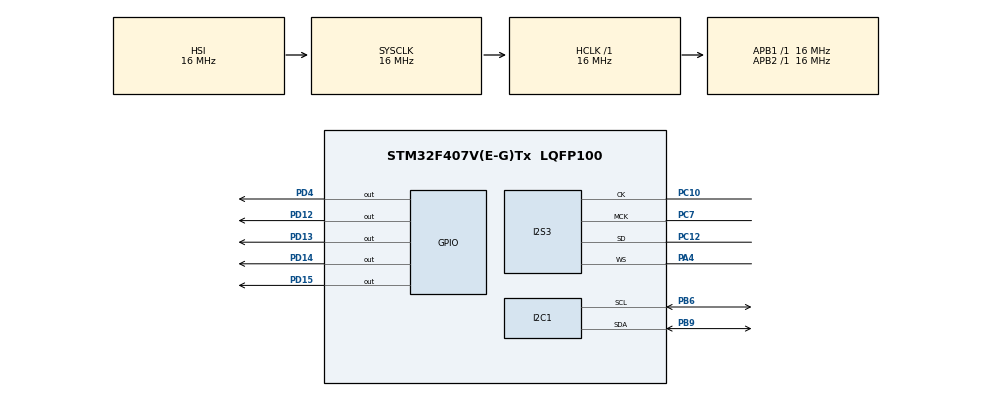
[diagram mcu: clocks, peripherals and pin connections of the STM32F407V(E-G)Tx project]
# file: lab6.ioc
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Dma.Request0=SPI3_TX
Dma.SPI3_TX.0.Direction=DMA_MEMORY_TO_PERIPH
Dma.SPI3_TX.0.FIFOMode=DMA_FIFOMODE_ENABLE
Dma.SPI3_TX.0.FIFOThreshold=DMA_FIFO_THRESHOLD_FULL
Dma.SPI3_TX.0.Instance=DMA1_Stream5
Dma.SPI3_TX.0.MemBurst=DMA_MBURST_SINGLE
Dma.SPI3_TX.0.MemDataAlignment=DMA_MDATAALIGN_HALFWORD
Dma.SPI3_TX.0.MemInc=DMA_MINC_ENABLE
Dma.SPI3_TX.0.Mode=DMA_CIRCULAR
Dma.SPI3_TX.0.PeriphBurst=DMA_PBURST_SINGLE
Dma.SPI3_TX.0.PeriphDataAlignment=DMA_PDATAALIGN_HALFWORD
Dma.SPI3_TX.0.PeriphInc=DMA_PINC_DISABLE
Dma.SPI3_TX.0.Priority=DMA_PRIORITY_LOW
I2S3.AudioFreq=I2S_AUDIOFREQ_48K
I2S3.ErrorAudioFreq=-2.34 %
I2S3.FullDuplexMode=I2S_FULLDUPLEXMODE_DISABLE
I2S3.Instance=SPI$Index
I2S3.RealAudioFreq=46.875 KHz
I2S3.VirtualMode=I2S_MODE_MASTER
Mcu.Family=STM32F4
Mcu.Name=STM32F407V(E-G)Tx
Mcu.Package=LQFP100
NVIC.DMA1_Stream5_IRQn=true\:0\:0\:false\:false\:true\:false\:true\:true
NVIC.PriorityGroup=NVIC_PRIORITYGROUP_4
PA4.Mode=Half_Duplex_Master
PA4.Signal=I2S3_WS
PB6.Mode=I2C
PB6.Signal=I2C1_SCL
PB9.Mode=I2C
PB9.Signal=I2C1_SDA
PC10.Mode=Half_Duplex_Master
PC10.Signal=I2S3_CK
PC12.Mode=Half_Duplex_Master
PC12.Signal=I2S3_SD
PC7.Mode=Master_Clock_Activated
PC7.Signal=I2S3_MCK
PD12.Signal=GPIO_Output
PD13.Signal=GPIO_Output
PD14.Signal=GPIO_Output
PD15.Signal=GPIO_Output
PD4.Signal=GPIO_Output
ProjectManager.HeapSize=0x200
ProjectManager.StackSize=0x400
ProjectManager.TargetToolchain=STM32CubeIDE
RCC.AHBFreq_Value=16000000
RCC.APB1Freq_Value=16000000
RCC.APB2Freq_Value=16000000
RCC.CortexFreq_Value=16000000
RCC.HSE_VALUE=25000000
RCC.HSI_VALUE=16000000
RCC.LSE_VALUE=32768
RCC.SYSCLKFreq_VALUE=16000000
RCC.VCOOutputFreq_Value=192000000
board=custom

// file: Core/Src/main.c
/* USER CODE BEGIN Header */
/**
  ******************************************************************************
  * @file           : main.c
  * @brief          : Main program body
  ******************************************************************************
  * @attention
  *
  * Copyright (c) 2024 STMicroelectronics.
  * All rights reserved.
  *
  * This software is licensed under terms that can be found in the LICENSE file
  * in the root directory of this software component.
  * If no LICENSE file comes with this software, it is provided AS-IS.
  *
  ******************************************************************************
  */
/* USER CODE END Header */
#include "main.h"

/* USER CODE BEGIN PTD */

typedef enum
{
	C4,
	C5,
	D5,
	E5,
	F5,
	G5,
	A5,
	B5,
	C6,
	D6,
	E6,
	F6,
	G6,
	A6,
	B6,
	C7,
	MAX_VALUE
} soundToneType;

/* USER CODE END PTD */

/* USER CODE BEGIN PD */

#define CS43L22_I2C_ADDRESS		0x94
#define I2C_TIMEOUT				10

/* USER CODE END PD */

I2C_HandleTypeDef hi2c1;

I2S_HandleTypeDef hi2s3;
DMA_HandleTypeDef hdma_spi3_tx;

/* USER CODE BEGIN PV */

int16_t dataI2S[100] = {0};

int i = 0;

/* USER CODE END PV */

void SystemClock_Config(void);
static void MX_GPIO_Init(void);
static void MX_DMA_Init(void);
static void MX_I2C1_Init(void);
static void MX_I2S3_Init(void);

/* USER CODE BEGIN 0 */

void CS43L22_Init(void)
{
	// Enable chip
	HAL_GPIO_WritePin(GPIOD, GPIO_PIN_4, GPIO_PIN_SET);

	//
	// Initialization
	//
	uint8_t TxBuffer[2];

	TxBuffer[0] = 0x0D;
	TxBuffer[1] = 0x01;
	HAL_I2C_Master_Transmit(&hi2c1, CS43L22_I2C_ADDRESS, (uint8_t*) &TxBuffer, 2, I2C_TIMEOUT);

	TxBuffer[0] = 0x00;
	TxBuffer[1] = 0x99;
	HAL_I2C_Master_Transmit(&hi2c1, CS43L22_I2C_ADDRESS, (uint8_t*) &TxBuffer, 2, I2C_TIMEOUT);

	TxBuffer[0] = 0x47;
	TxBuffer[1] = 0x80;
	HAL_I2C_Master_Transmit(&hi2c1, CS43L22_I2C_ADDRESS, (uint8_t*) &TxBuffer, 2, I2C_TIMEOUT);

	TxBuffer[0] = 0x32;
	TxBuffer[1] = 0xFF;
	HAL_I2C_Master_Transmit(&hi2c1, CS43L22_I2C_ADDRESS, (uint8_t*) &TxBuffer, 2, I2C_TIMEOUT);

	TxBuffer[0] = 0x32;
	TxBuffer[1] = 0x7F;
	HAL_I2C_Master_Transmit(&hi2c1, CS43L22_I2C_ADDRESS, (uint8_t*) &TxBuffer, 2, I2C_TIMEOUT);

	TxBuffer[0] = 0x00;
	TxBuffer[1] = 0x00;
	HAL_I2C_Master_Transmit(&hi2c1, CS43L22_I2C_ADDRESS, (uint8_t*) &TxBuffer, 2, I2C_TIMEOUT);

	TxBuffer[0] = 0x04;
	TxBuffer[1] = 0xAF;
	HAL_I2C_Master_Transmit(&hi2c1, CS43L22_I2C_ADDRESS, (uint8_t*) &TxBuffer, 2, I2C_TIMEOUT);

	TxBuffer[0] = 0x0D;
	TxBuffer[1] = 0x70;
	HAL_I2C_Master_Transmit(&hi2c1, CS43L22_I2C_ADDRESS, (uint8_t*) &TxBuffer, 2, I2C_TIMEOUT);

	TxBuffer[0] = 0x05;
	TxBuffer[1] = 0x81;
	HAL_I2C_Master_Transmit(&hi2c1, CS43L22_I2C_ADDRESS, (uint8_t*) &TxBuffer, 2, I2C_TIMEOUT);

	TxBuffer[0] = 0x06;
	TxBuffer[1] = 0x07;
	HAL_I2C_Master_Transmit(&hi2c1, CS43L22_I2C_ADDRESS, (uint8_t*) &TxBuffer, 2, I2C_TIMEOUT);

	TxBuffer[0] = 0x0A;
	TxBuffer[1] = 0x00;
	HAL_I2C_Master_Transmit(&hi2c1, CS43L22_I2C_ADDRESS, (uint8_t*) &TxBuffer, 2, I2C_TIMEOUT);

	TxBuffer[0] = 0x27;
	TxBuffer[1] = 0x00;
	HAL_I2C_Master_Transmit(&hi2c1, CS43L22_I2C_ADDRESS, (uint8_t*) &TxBuffer, 2, I2C_TIMEOUT);

	TxBuffer[0] = 0x1A;
	TxBuffer[1] = 0x0A;
	HAL_I2C_Master_Transmit(&hi2c1, CS43L22_I2C_ADDRESS, (uint8_t*) &TxBuffer, 2, I2C_TIMEOUT);

	TxBuffer[0] = 0x1B;
	TxBuffer[1] = 0x0A;
	HAL_I2C_Master_Transmit(&hi2c1, CS43L22_I2C_ADDRESS, (uint8_t*) &TxBuffer, 2, I2C_TIMEOUT);

	TxBuffer[0] = 0x1F;
	TxBuffer[1] = 0x0F;
	HAL_I2C_Master_Transmit(&hi2c1, CS43L22_I2C_ADDRESS, (uint8_t*) &TxBuffer, 2, I2C_TIMEOUT);

	TxBuffer[0] = 0x02;
	TxBuffer[1] = 0x9E;
	HAL_I2C_Master_Transmit(&hi2c1, CS43L22_I2C_ADDRESS, (uint8_t*) &TxBuffer, 2, I2C_TIMEOUT);
}

void CS43L22_Beep(soundToneType pitch, uint32_t duration_ms)
{
	uint8_t TxBuffer[2];

	// Set volume and off time
	TxBuffer[0] = 0x1D;		// Register address
	TxBuffer[1] = 0x00;		// Value (volume and off time)
	HAL_I2C_Master_Transmit(&hi2c1, CS43L22_I2C_ADDRESS, (uint8_t*) &TxBuffer, 2, I2C_TIMEOUT);

	// Set sound frequency
	TxBuffer[0] = 0x1C;		// Register address
	switch (pitch)
	{
	case C4:
		TxBuffer[1] = 0x00;		// Value (frequency and on time)
		break;
	case C5:
		TxBuffer[1] = 0x01;		// Value (frequency and on time)
		break;
	case D5:
		TxBuffer[1] = 0x02;		// Value (frequency and on time)
		break;
	case E5:
		TxBuffer[1] = 0x03;		// Value (frequency and on time)
		break;
	case F5:
		TxBuffer[1] = 0x04;		// Value (frequency and on time)
		break;
	case G5:
		TxBuffer[1] = 0x05;		// Value (frequency and on time)
		break;
	case A5:
		TxBuffer[1] = 0x06;		// Value (frequency and on time)
		break;
	case B5:
		TxBuffer[1] = 0x07;		// Value (frequency and on time)
		break;
	case C6:
		TxBuffer[1] = 0x08;		// Value (frequency and on time)
		break;
	case D6:
		TxBuffer[1] = 0x09;		// Value (frequency and on time)
		break;
	case E6:
		TxBuffer[1] = 0x0A;		// Value (frequency and on time)
		break;
	case F6:
		TxBuffer[1] = 0x0B;		// Value (frequency and on time)
		break;
	case G6:
		TxBuffer[1] = 0x0C;		// Value (frequency and on time)
		break;
	case A6:
		TxBuffer[1] = 0x0D;		// Value (frequency and on time)
		break;
	case B6:
		TxBuffer[1] = 0x0E;		// Value (frequency and on time)
		break;
	case C7:
		TxBuffer[1] = 0x0F;		// Value (frequency and on time)
		break;
		// Assume C4 for all other cases
		case MAX_VALUE:
		default:
			TxBuffer[1] = 0x00;		// Value (frequency and on time)
			break;
	}
	HAL_I2C_Master_Transmit(&hi2c1, CS43L22_I2C_ADDRESS, (uint8_t*) &TxBuffer, 2, I2C_TIMEOUT);

	// Enable continuous mode (SOUND STARTED)
	TxBuffer[0] = 0x1E;		// Register address
	TxBuffer[1] = 0xC0;		// Value (beep and tone configuration)
	HAL_I2C_Master_Transmit(&hi2c1, CS43L22_I2C_ADDRESS, (uint8_t*) &TxBuffer, 2, I2C_TIMEOUT);

	// Playing...
	HAL_Delay(duration_ms);

	// Disable continuous mode (SOUND STOPED)
	TxBuffer[0] = 0x1E;		// Register address
	TxBuffer[1] = 0x00;		// Value (beep and tone configuration)
	HAL_I2C_Master_Transmit(&hi2c1, CS43L22_I2C_ADDRESS, (uint8_t*) &TxBuffer, 2, I2C_TIMEOUT);
}

void melody()
{
	CS43L22_Beep(C5, 300);
    HAL_GPIO_WritePin(GPIOD, GPIO_PIN_12, GPIO_PIN_SET);
    HAL_Delay(300);
    HAL_GPIO_WritePin(GPIOD, GPIO_PIN_12, GPIO_PIN_RESET);
    CS43L22_Beep(C5, 300);
    HAL_GPIO_WritePin(GPIOD, GPIO_PIN_12, GPIO_PIN_SET);
    HAL_Delay(300);
    HAL_GPIO_WritePin(GPIOD, GPIO_PIN_12, GPIO_PIN_RESET);
    CS43L22_Beep(D5, 300);
    HAL_GPIO_WritePin(GPIOD, GPIO_PIN_13, GPIO_PIN_SET);
    HAL_Delay(300);
    HAL_GPIO_WritePin(GPIOD, GPIO_PIN_13, GPIO_PIN_RESET);
    CS43L22_Beep(C5, 400);
    HAL_GPIO_WritePin(GPIOD, GPIO_PIN_12, GPIO_PIN_SET);
    HAL_Delay(400);
    HAL_GPIO_WritePin(GPIOD, GPIO_PIN_12, GPIO_PIN_RESET);

    CS43L22_Beep(F5, 300);
    HAL_GPIO_WritePin(GPIOD, GPIO_PIN_15, GPIO_PIN_SET);
    HAL_Delay(300);
    HAL_GPIO_WritePin(GPIOD, GPIO_PIN_15, GPIO_PIN_RESET);
    CS43L22_Beep(E5, 300);
    HAL_GPIO_WritePin(GPIOD, GPIO_PIN_14, GPIO_PIN_SET);
    HAL_Delay(300);
    HAL_GPIO_WritePin(GPIOD, GPIO_PIN_14, GPIO_PIN_RESET);
    CS43L22_Beep(C5, 600);
    HAL_GPIO_WritePin(GPIOD, GPIO_PIN_12, GPIO_PIN_SET);
    HAL_Delay(600);
    HAL_GPIO_WritePin(GPIOD, GPIO_PIN_12, GPIO_PIN_RESET);

    CS43L22_Beep(F5, 300);
    HAL_GPIO_WritePin(GPIOD, GPIO_PIN_15, GPIO_PIN_SET);
    HAL_Delay(300);
    HAL_GPIO_WritePin(GPIOD, GPIO_PIN_15, GPIO_PIN_RESET);
    CS43L22_Beep(E5, 300);
    HAL_GPIO_WritePin(GPIOD, GPIO_PIN_14, GPIO_PIN_SET);
    HAL_Delay(300);
    HAL_GPIO_WritePin(GPIOD, GPIO_PIN_14, GPIO_PIN_RESET);
    CS43L22_Beep(C5, 600);
    HAL_GPIO_WritePin(GPIOD, GPIO_PIN_12, GPIO_PIN_SET);
    HAL_Delay(600);
    HAL_GPIO_WritePin(GPIOD, GPIO_PIN_12, GPIO_PIN_RESET);

    CS43L22_Beep(G5, 300);
    HAL_GPIO_WritePin(GPIOD, GPIO_PIN_13, GPIO_PIN_SET);
    HAL_GPIO_WritePin(GPIOD, GPIO_PIN_15, GPIO_PIN_SET);
    HAL_Delay(300);
    HAL_GPIO_WritePin(GPIOD, GPIO_PIN_13, GPIO_PIN_RESET);
    HAL_GPIO_WritePin(GPIOD, GPIO_PIN_15, GPIO_PIN_RESET);
    CS43L22_Beep(F5, 300);
    HAL_GPIO_WritePin(GPIOD, GPIO_PIN_15, GPIO_PIN_SET);
    HAL_Delay(300);
    HAL_GPIO_WritePin(GPIOD, GPIO_PIN_15, GPIO_PIN_RESET);
    CS43L22_Beep(D5, 600);
    HAL_GPIO_WritePin(GPIOD, GPIO_PIN_13, GPIO_PIN_SET);
    HAL_Delay(600);
    HAL_GPIO_WritePin(GPIOD, GPIO_PIN_13, GPIO_PIN_RESET);

    CS43L22_Beep(G5, 300);
    HAL_GPIO_WritePin(GPIOD, GPIO_PIN_13, GPIO_PIN_SET);
    HAL_GPIO_WritePin(GPIOD, GPIO_PIN_15, GPIO_PIN_SET);
    HAL_Delay(300);
    HAL_GPIO_WritePin(GPIOD, GPIO_PIN_13, GPIO_PIN_RESET);
    HAL_GPIO_WritePin(GPIOD, GPIO_PIN_15, GPIO_PIN_RESET);
    CS43L22_Beep(F5, 300);
    HAL_GPIO_WritePin(GPIOD, GPIO_PIN_15, GPIO_PIN_SET);
    HAL_Delay(300);
    HAL_GPIO_WritePin(GPIOD, GPIO_PIN_15, GPIO_PIN_RESET);
    CS43L22_Beep(C5, 600);
    HAL_GPIO_WritePin(GPIOD, GPIO_PIN_12, GPIO_PIN_SET);
    HAL_GPIO_WritePin(GPIOD, GPIO_PIN_13, GPIO_PIN_SET);
    HAL_GPIO_WritePin(GPIOD, GPIO_PIN_14, GPIO_PIN_SET);
    HAL_GPIO_WritePin(GPIOD, GPIO_PIN_15, GPIO_PIN_SET);
    HAL_Delay(600);
    HAL_GPIO_WritePin(GPIOD, GPIO_PIN_12, GPIO_PIN_RESET);
    HAL_GPIO_WritePin(GPIOD, GPIO_PIN_13, GPIO_PIN_RESET);
    HAL_GPIO_WritePin(GPIOD, GPIO_PIN_14, GPIO_PIN_RESET);
    HAL_GPIO_WritePin(GPIOD, GPIO_PIN_15, GPIO_PIN_RESET);

}

/* USER CODE END 0 */

int main(void)
{

  /* MCU Configuration--------------------------------------------------------*/

  /* Reset of all peripherals, Initializes the Flash interface and the Systick. */
  HAL_Init();

  /* Configure the system clock */
  SystemClock_Config();

  /* Initialize all configured peripherals */
  MX_GPIO_Init();
  MX_DMA_Init();
  MX_I2C1_Init();
  MX_I2S3_Init();
  /* USER CODE BEGIN 2 */

  // Init DAC
  CS43L22_Init();

  // Transmit empty data
  HAL_I2S_Transmit_DMA(&hi2s3, (uint16_t *)dataI2S, 100);

  /* USER CODE END 2 */

  /* Infinite loop */
  /* USER CODE BEGIN WHILE */
  while (1)
  {
	    while (i < 3) {
	        melody();
	        i++;
	    }
    /* USER CODE END WHILE */

  }
}

void SystemClock_Config(void)
{
  RCC_OscInitTypeDef RCC_OscInitStruct = {0};
  RCC_ClkInitTypeDef RCC_ClkInitStruct = {0};

  /** Macro to configure the PLL multiplication factor
  */
  __HAL_RCC_PLL_PLLM_CONFIG(16);

  /** Macro to configure the PLL clock source
  */
  __HAL_RCC_PLL_PLLSOURCE_CONFIG(RCC_PLLSOURCE_HSI);

  /** Configure the main internal regulator output voltage
  */
  __HAL_RCC_PWR_CLK_ENABLE();
  __HAL_PWR_VOLTAGESCALING_CONFIG(PWR_REGULATOR_VOLTAGE_SCALE1);

  /** Initializes the RCC Oscillators according to the specified parameters
  * in the RCC_OscInitTypeDef structure.
  */
  RCC_OscInitStruct.OscillatorType = RCC_OSCILLATORTYPE_HSI;
  RCC_OscInitStruct.HSIState = RCC_HSI_ON;
  RCC_OscInitStruct.HSICalibrationValue = RCC_HSICALIBRATION_DEFAULT;
  RCC_OscInitStruct.PLL.PLLState = RCC_PLL_NONE;
  RCC_OscInitStruct.PLL.PLLSource = RCC_PLLSOURCE_HSI;
  if (HAL_RCC_OscConfig(&RCC_OscInitStruct) != HAL_OK)
  {
    Error_Handler();
  }

  /** Initializes the CPU, AHB and APB buses clocks
  */
  RCC_ClkInitStruct.ClockType = RCC_CLOCKTYPE_HCLK|RCC_CLOCKTYPE_SYSCLK
                              |RCC_CLOCKTYPE_PCLK1|RCC_CLOCKTYPE_PCLK2;
  RCC_ClkInitStruct.SYSCLKSource = RCC_SYSCLKSOURCE_HSI;
  RCC_ClkInitStruct.AHBCLKDivider = RCC_SYSCLK_DIV1;
  RCC_ClkInitStruct.APB1CLKDivider = RCC_HCLK_DIV1;
  RCC_ClkInitStruct.APB2CLKDivider = RCC_HCLK_DIV1;

  if (HAL_RCC_ClockConfig(&RCC_ClkInitStruct, FLASH_LATENCY_0) != HAL_OK)
  {
    Error_Handler();
  }
}

static void MX_I2C1_Init(void)
{

  hi2c1.Instance = I2C1;
  hi2c1.Init.ClockSpeed = 100000;
  hi2c1.Init.DutyCycle = I2C_DUTYCYCLE_2;
  hi2c1.Init.OwnAddress1 = 0;
  hi2c1.Init.AddressingMode = I2C_ADDRESSINGMODE_7BIT;
  hi2c1.Init.DualAddressMode = I2C_DUALADDRESS_DISABLE;
  hi2c1.Init.OwnAddress2 = 0;
  hi2c1.Init.GeneralCallMode = I2C_GENERALCALL_DISABLE;
  hi2c1.Init.NoStretchMode = I2C_NOSTRETCH_DISABLE;
  if (HAL_I2C_Init(&hi2c1) != HAL_OK)
  {
    Error_Handler();
  }

}

static void MX_I2S3_Init(void)
{

  hi2s3.Instance = SPI3;
  hi2s3.Init.Mode = I2S_MODE_MASTER_TX;
  hi2s3.Init.Standard = I2S_STANDARD_PHILIPS;
  hi2s3.Init.DataFormat = I2S_DATAFORMAT_16B;
  hi2s3.Init.MCLKOutput = I2S_MCLKOUTPUT_ENABLE;
  hi2s3.Init.AudioFreq = I2S_AUDIOFREQ_48K;
  hi2s3.Init.CPOL = I2S_CPOL_LOW;
  hi2s3.Init.ClockSource = I2S_CLOCK_PLL;
  hi2s3.Init.FullDuplexMode = I2S_FULLDUPLEXMODE_DISABLE;
  if (HAL_I2S_Init(&hi2s3) != HAL_OK)
  {
    Error_Handler();
  }

}

static void MX_DMA_Init(void)
{

  /* DMA controller clock enable */
  __HAL_RCC_DMA1_CLK_ENABLE();

  /* DMA interrupt init */
  /* DMA1_Stream5_IRQn interrupt configuration */
  HAL_NVIC_SetPriority(DMA1_Stream5_IRQn, 0, 0);
  HAL_NVIC_EnableIRQ(DMA1_Stream5_IRQn);

}

static void MX_GPIO_Init(void)
{
  GPIO_InitTypeDef GPIO_InitStruct = {0};

  /* GPIO Ports Clock Enable */
  __HAL_RCC_GPIOA_CLK_ENABLE();
  __HAL_RCC_GPIOD_CLK_ENABLE();
  __HAL_RCC_GPIOC_CLK_ENABLE();
  __HAL_RCC_GPIOB_CLK_ENABLE();

  /*Configure GPIO pin Output Level */
  HAL_GPIO_WritePin(GPIOD, GPIO_PIN_12|GPIO_PIN_13|GPIO_PIN_14|GPIO_PIN_15
                          |GPIO_PIN_4, GPIO_PIN_RESET);

  /*Configure GPIO pins : PD12 PD13 PD14 PD15
                           PD4 */
  GPIO_InitStruct.Pin = GPIO_PIN_12|GPIO_PIN_13|GPIO_PIN_14|GPIO_PIN_15
                          |GPIO_PIN_4;
  GPIO_InitStruct.Mode = GPIO_MODE_OUTPUT_PP;
  GPIO_InitStruct.Pull = GPIO_NOPULL;
  GPIO_InitStruct.Speed = GPIO_SPEED_FREQ_LOW;
  HAL_GPIO_Init(GPIOD, &GPIO_InitStruct);

}

void Error_Handler(void)
{
  __disable_irq();
  while (1)
  {
  }
}
